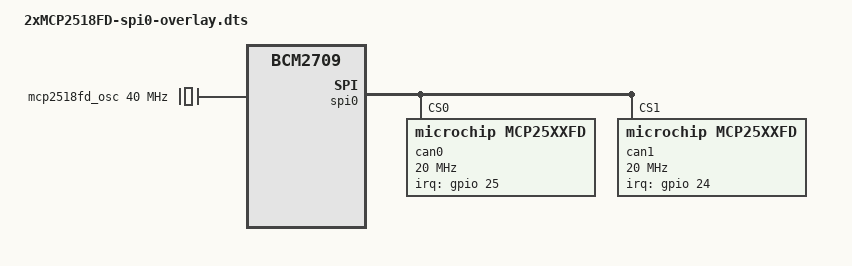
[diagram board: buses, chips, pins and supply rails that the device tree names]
/*
 * Device tree overlay for mcp251x/mcp2518fd on spi0.0
 */

/dts-v1/;
/plugin/;

/ {
    compatible = "brcm,bcm2835", "brcm,bcm2836", "brcm,bcm2708", "brcm,bcm2709";
    /* disable spi-dev for spi0.0 */

    fragment@0{
	target = <&spidev0>;
	__overlay__ {
	    status = "disabled";
	};
    };

    fragment@1{
	target = <&spidev1>;
	__overlay__ {
	    status = "disabled";
	};
    };

    /* the interrupt pin of the can-controller */
    fragment@2 {
        target = <&gpio>;
        __overlay__ {
            can_int_pins: can_int_pins {
                brcm,pins = <25 24>;
                brcm,function = <0>; /* input */
            };
        };
    };

    /* the clock/oscillator of the can-controller */
    fragment@3 {
        target-path = "/clocks";
        __overlay__ {
            /* external 40M oscillator of mcp2518fd on SPI0.0 */
            mcp2518fd_osc: mcp2518fd_osc {
                compatible = "fixed-clock";
                #clock-cells = <0>;
              clock-frequency  = <40000000>;
            };
        };
    };

    /* the spi config of the can-controller itself binding everything together */
    fragment@4 {
        target = <&spi0>;
        __overlay__ {
            /* needed to avoid dtc warning */
            #address-cells = <1>;
            #size-cells = <0>;

          status = "okay";
            can0: can@0 {
                reg = <0>;
                pinctrl-names = "default";
         	pinctrl-0 = <&can_int_pins>;
                compatible = "microchip,mcp25xxfd";
                spi-max-frequency = <20000000>;
                interrupt-parent = <&gpio>;
                interrupts = <25 8>; /* IRQ_TYPE_LEVEL_LOW */
                clocks = <&mcp2518fd_osc>;
            };

            can1: can@1 {
                reg = <1>;
                pinctrl-names = "default";
                compatible = "microchip,mcp25xxfd";
                spi-max-frequency = <20000000>;
                interrupt-parent = <&gpio>;
                interrupts = <24 8>; /* IRQ_TYPE_LEVEL_LOW */
                clocks = <&mcp2518fd_osc>;
            };
        };

    };

};
